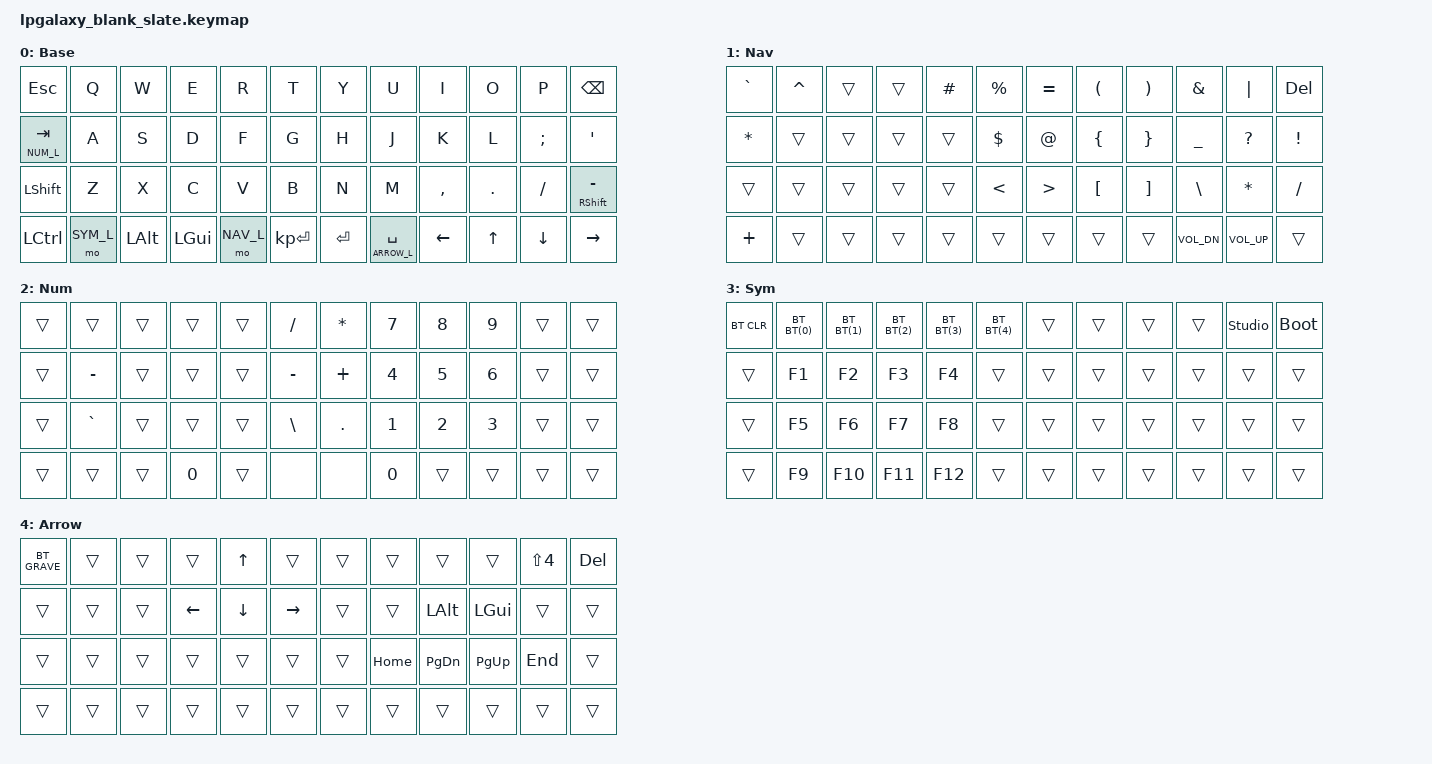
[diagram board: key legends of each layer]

/*
 * Copyright (c) 2025 Alvaro Restrepo
 *
 * SPDX-License-Identifier: MIT
 */

#include <behaviors.dtsi>
#include <dt-bindings/zmk/keys.h>
#include <dt-bindings/zmk/bt.h>
#include <dt-bindings/zmk/outputs.h>

#define QWERTY_BASE 1

#define TBLE_ORTHO   1
// #define TBLE_MIT     1
// #define TBLE_DUAL_2U 1

#define NAV_L 1
#define NUM_L 2
#define SYM_L 3
#define ARROW_L 4

// Using layer taps on thumbs, having quick tap as well helps w/ repeating space/backspace
&lt { quick_tap_ms = <200>; };

#define BT(n) BT_SEL n

/ {
    chosen {
       zmk,physical-layout =
#ifdef TBLE_DUAL_2U
                       &layout_ortho_4x12_2x2u;
#elif defined(TBLE_MIT)
                       &layout_ortho_4x12_1x2u;
#else
                       &layout_ortho_4x12_all1u;
#endif
    };

    macros {
      ZMK_MACRO(thumbs_up,
		wait-ms = <1>;
		tap-ms = <5>;
                bindings = <&kp PLUS &kp COLON &kp PLUS &kp N1 &kp COLON &kp RET>;
		)
    };

    tap_dances {
    	shifty: shift_caps_word {
		compatible = "zmk,behavior-tap-dance";
		label = "TD_SHIFTY";
		#binding-cells = <0>;
		tapping-term-ms = <150>;
		bindings = <&kp LSHFT>, <&caps_word>;
	};
    };

// Conditional layer only when we have less thumb keys
#ifdef TBLE_DUAL_2U
    cond_layers {
        compatible = "zmk,conditional-layers";
	tri {
	    if-layers = <NUM_L NAV_L>;
	    then-layer = <SYM_L>;
        };
    };
#endif

    keymap {
        compatible = "zmk,keymap";

        base_layer {
            label = "Base";
            bindings = <

//╭────────────┬──────────┬──────────┬──────────┬─────────────┬─────────────┬────────────────┬────────────────┬────────────┬──────────┬─────────────┬───────────────────╮
//│  Escape    │ Q        │  W       │ E        │  R          │       T     │       Y        │        U       │    I       │     O    │      P      │   Backspace       │
     &kp ESC       &kp Q      &kp W      &kp E       &kp R          &kp T          &kp Y            &kp U          &kp I       &kp O      &kp P         &kp BKSP
//├────────────┼──────────┼──────────┼──────────┼─────────────┼─────────────┼────────────────┼────────────────┼────────────┼──────────┼─────────────┼───────────────────┤
//│Tab/num_laye│  A       │  S       │ D        │  F          │       G     │       H        │        J       │    K       │     L    │      ;/:    │       ''/""       │
 &lt NUM_L TAB    &kp A      &kp S      &kp D       &kp F          &kp G          &kp H            &kp J          &kp K       &kp L      &kp SEMI      &kp QUOT
//├────────────┼──────────┼──────────┼──────────┼─────────────┼─────────────┼────────────────┼────────────────┼────────────┼──────────┼─────────────┼───────────────────┤
//│   Shift    │  Z       │  X       │ C        │  V          │       B     │       N        │        M       │    ,       │     .    │      /      │   Shift/-/_       │
   &kp LSHFT      &kp Z      &kp X      &kp C       &kp V          &kp B          &kp N            &kp M         &kp COMMA    &kp DOT    &kp FSLH      &mt RSHIFT MINUS
//├────────────┼──────────┼──────────┼──────────┼─────────────┼─────────────┼────────────────┼────────────────┼────────────┼──────────┼─────────────┼───────────────────┤
//│   CTRL     │  L_SYM   │  ALT     │ Cmd      │  L_NAV      │   Enter     │       N/A      │ L_ARROW/SPACE  │    LEFT    │     UP   │    DOWN     │   RIGHT           │
   &kp LCTRL    &mo SYM_L   &kp LALT   &kp LGUI   &mo NAV_L    &kp KP_ENTER      &kp RET      &lt ARROW_L SPACE   &kp LEFT    &kp UP     &kp DOWN      &kp RIGHT
//╰────────────┴──────────┴──────────┴──────────┴─────────────┴─────────────┴────────────────┴────────────────┴────────────┴──────────┴─────────────┴───────────────────╯
            >;
        };

				 nav_layer {
            label = "Nav";
            bindings = <

//╭────────────┬──────────┬──────────┬──────────┬─────────────┬─────────────┬────────────────┬────────────────┬────────────┬──────────┬─────────────┬───────────────────╮
//│  `~        │ ^        │          │          │  #          │       %     │       =        │        (       │    )       │     &    │      |      │       DEL         │
   &kp GRAVE    &kp CARET   &trans     &trans      &kp HASH       &kp PRCNT     &kp EQUAL          &kp LPAR      &kp RPAR    &kp AMPS    &kp PIPE        &kp DEL
//├────────────┼──────────┼──────────┼──────────┼─────────────┼─────────────┼────────────────┼────────────────┼────────────┼──────────┼─────────────┼───────────────────┤
//│    ^       │          │          │          │             │       $     │       @        │        {       │    }       │     _    │      ?      │       !           │
    &kp ASTRK     &trans     &trans     &trans      &trans        &kp DLLR       &kp AT           &kp LBRC        &kp RBRC   &kp UNDER    &kp QMARK      &kp EXCL
//├────────────┼──────────┼──────────┼──────────┼─────────────┼─────────────┼────────────────┼────────────────┼────────────┼──────────┼─────────────┼───────────────────┤
//│            │          │          │          │             │       <     │       >        │        [       │      ]     │    \     │      *      │       /           │
     &trans       &trans     &trans     &trans      &trans         &kp LT        &kp GT           &kp LBKT      &kp RBKT     &kp BSLH    &kp ASTRK      &kp FSLH
//├────────────┼──────────┼──────────┼──────────┼─────────────┼─────────────┼────────────────┼────────────────┼────────────┼──────────┼─────────────┼───────────────────┤
//│   CTRL     │          │          │          │             │   Enter     │                │ L_ARROW/SPACE  │    LEFT    │C_VOL_DN  │ C_VOL_UP    │                   │
    &kp PLUS      &trans     &trans     &trans      &trans         &trans          &trans           &trans       &trans     &kp C_VOL_DN &kp C_VOL_UP    &trans
//╰────────────┴──────────┴──────────┴──────────┴─────────────┴─────────────┴────────────────┴────────────────┴────────────┴──────────┴─────────────┴───────────────────╯
            >;
        };

        num_layer {
            label = "Num";
            bindings = <

//╭────────────┬──────────┬──────────┬──────────┬─────────────┬─────────────┬────────────────┬────────────────┬────────────┬──────────┬─────────────┬───────────────────╮
//│            │          │          │          │             │       /     │       *        │        7       │    8       │     9    │             │                   │
     &trans       &trans     &trans    &trans       &trans        &kp FSLH      &kp ASTRK         &kp N7        &kp N8       &kp N9       &trans        &trans
//├────────────┼──────────┼──────────┼──────────┼─────────────┼─────────────┼────────────────┼────────────────┼────────────┼──────────┼─────────────┼───────────────────┤
//│    ^       │          │          │          │             │       -     │       +        │        4       │    5       │     6    │             │                   │
     &trans      &kp MINUS   &trans     &trans      &trans       &kp MINUS      &kp PLUS         &kp N4        &kp N5       &kp N6       &trans         &trans
//├────────────┼──────────┼──────────┼──────────┼─────────────┼─────────────┼────────────────┼────────────────┼────────────┼──────────┼─────────────┼───────────────────┤
//│            │          │          │          │             │       <     │       .        │        1       │      2     │    3     │             │                   │
    &trans       &kp GRAVE   &trans     &trans      &trans       &kp BSLH        &kp DOT            &kp N1         &kp N2       &kp N3      &trans         &trans
//├────────────┼──────────┼──────────┼──────────┼─────────────┼─────────────┼────────────────┼────────────────┼────────────┼──────────┼─────────────┼───────────────────┤
//│   CTRL     │          │          │          │             │   Enter     │                │        0       │            │          │             │                   │
    &trans       &trans      &trans     &kp N0      &trans        &none           &none           &kp N0          &trans      &trans       &trans          &trans
//╰────────────┴──────────┴──────────┴──────────┴─────────────┴─────────────┴────────────────┴────────────────┴────────────┴──────────┴─────────────┴───────────────────╯

            >;
        };

        sym_layer {
            label = "Sym";
            bindings = <

//╭────────────┬──────────┬──────────┬──────────┬─────────────┬─────────────┬────────────────┬────────────────┬────────────┬──────────┬─────────────┬───────────────────╮
//│  CLEAR BT  │    BT 1  │   BT 2   │   BT 3   │    BT 4     │     BT 5    │                │                │            │          │studio_unlock│    Bootloader     │
    &bt BT_CLR   &bt BT(0)  &bt BT(1)  &bt BT(2)   &bt BT(3)     &bt BT(4)       &trans            &trans        &trans       &trans   &studio_unlock    &bootloader
//├────────────┼──────────┼──────────┼──────────┼─────────────┼─────────────┼────────────────┼────────────────┼────────────┼──────────┼─────────────┼───────────────────┤
//│            │   F1     │  F2      │  F3      │  F4         │             │                │                │            │          │             │                   │
      &trans      &kp F1     &kp F2     &kp F3      &kp F4        &trans        &trans             &trans        &trans       &trans       &trans        &trans
//├────────────┼──────────┼──────────┼──────────┼─────────────┼─────────────┼────────────────┼────────────────┼────────────┼──────────┼─────────────┼───────────────────┤
//│            │  F5      │  F6      │  F7      │  F8         │             │                │                │            │          │             │                   │
      &trans      &kp F5     &kp F6     &kp F7      &kp F8        &trans         &trans           &trans          &trans     &trans       &trans         &trans
//├────────────┼──────────┼──────────┼──────────┼─────────────┼─────────────┼────────────────┼────────────────┼────────────┼──────────┼─────────────┼───────────────────┤
//│            │  F9      │  F10     │  F11     │  F12        │             │                │                │            │          │             │                   │
      &trans      &kp F9     &kp F10    &kp F11    &kp F12       &trans          &trans           &trans         &trans       &trans      &trans          &trans
//╰────────────┴──────────┴──────────┴──────────┴─────────────┴─────────────┴────────────────┴────────────────┴────────────┴──────────┴─────────────┴───────────────────╯

            >;
        };

			arrow_layer {
            label = "Arrow";

            bindings = <
//╭────────────┬──────────┬──────────┬──────────┬─────────────┬─────────────┬────────────────┬────────────────┬────────────┬──────────┬─────────────┬───────────────────╮
//│  `         │          │          │          │     UP      │             │                │                │            │          │             │     DEL           │
    &bt GRAVE    &trans     &trans      &trans      &kp UP         &trans         &trans          &trans         &trans       &trans    &kp LS(N4)        &kp DEL
//├────────────┼──────────┼──────────┼──────────┼─────────────┼─────────────┼────────────────┼────────────────┼────────────┼──────────┼─────────────┼───────────────────┤
//│            │          │          │  LEFT    │  DOWN       │   RIGHT     │                │                │            │          │             │                   │
    &trans       &trans     &trans     &kp LEFT   &kp DOWN      &kp RIGHT         &trans            &trans        &kp LALT   &kp LGUI      &trans           &trans
//├────────────┼──────────┼──────────┼──────────┼─────────────┼─────────────┼────────────────┼────────────────┼────────────┼──────────┼─────────────┼───────────────────┤
//│            │          │          │          │             │             │                │                │            │          │             │                   │
      &trans     &trans     &trans     &trans      &trans         &trans        &trans         &kp HOME        &kp PG_DN   &kp PG_UP    &kp END          &trans
//├────────────┼──────────┼──────────┼──────────┼─────────────┼─────────────┼────────────────┼────────────────┼────────────┼──────────┼─────────────┼───────────────────┤
//│            │          │          │          │             │             │                │                │            │          │             │                   │
      &trans     &trans     &trans     &trans      &trans         &trans         &trans          &trans           &trans      &trans      &trans           &trans
//╰────────────┴──────────┴──────────┴──────────┴─────────────┴─────────────┴────────────────┴────────────────┴────────────┴──────────┴─────────────┴───────────────────╯

            >;
        };


    };
};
